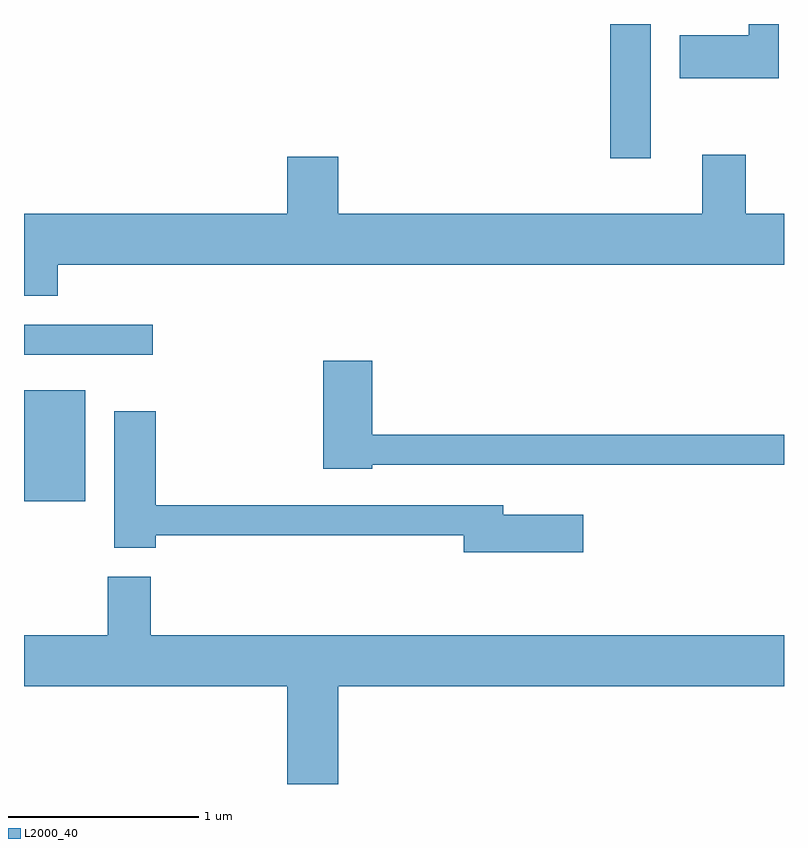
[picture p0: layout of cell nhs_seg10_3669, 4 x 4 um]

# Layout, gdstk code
import gdstk
lib = gdstk.Library(unit=1e-6, precision=1e-09)
def R(c, l, rs):  # rectangles x0, y0, x1, y1
    for r in rs: c.add(gdstk.rectangle(r[:2], r[2:], *l))
def P(c, l, *ps):  # polygons
    for p in ps: c.add(gdstk.Polygon(p, *l))
L2000_40 = (2000, 40)

nhs_seg10_3669 = lib.new_cell('nhs_seg10_3669')
R(nhs_seg10_3669, L2000_40, [(293.611,2106.011,293.934,2106.594), (293.611,2106.781,294.288,2106.939), (296.696,2107.816,296.909,2108.522)])
P(nhs_seg10_3669, L2000_40, [(297.584,2108.522),(297.426,2108.522),(297.426,2108.464),(297.061,2108.464),(297.061,2108.236),(297.584,2108.236)],
  [(293.789,2107.256),(297.611,2107.256),(297.611,2107.524),(297.409,2107.524),(297.409,2107.834),(297.181,2107.834),(297.181,2107.524),(295.264,2107.524),(295.264,2107.824),(294.996,2107.824),(294.996,2107.524),(293.611,2107.524),(293.611,2107.091),(293.789,2107.091)],
  [(295.444,2106.201),(297.611,2106.201),(297.611,2106.359),(295.444,2106.359),(295.444,2106.749),(295.186,2106.749),(295.186,2106.181),(295.444,2106.181)],
  [(296.554,2105.939),(296.134,2105.939),(296.134,2105.989),(294.304,2105.989),(294.304,2106.484),(294.086,2106.484),(294.086,2105.766),(294.304,2105.766),(294.304,2105.831),(295.926,2105.831),(295.926,2105.741),(296.554,2105.741)],
  [(295.264,2105.036),(297.611,2105.036),(297.611,2105.304),(294.279,2105.304),(294.279,2105.614),(294.051,2105.614),(294.051,2105.304),(293.611,2105.304),(293.611,2105.036),(294.996,2105.036),(294.996,2104.522),(295.264,2104.522)])

lib.write_gds('nhs_seg10_3669.gds')
